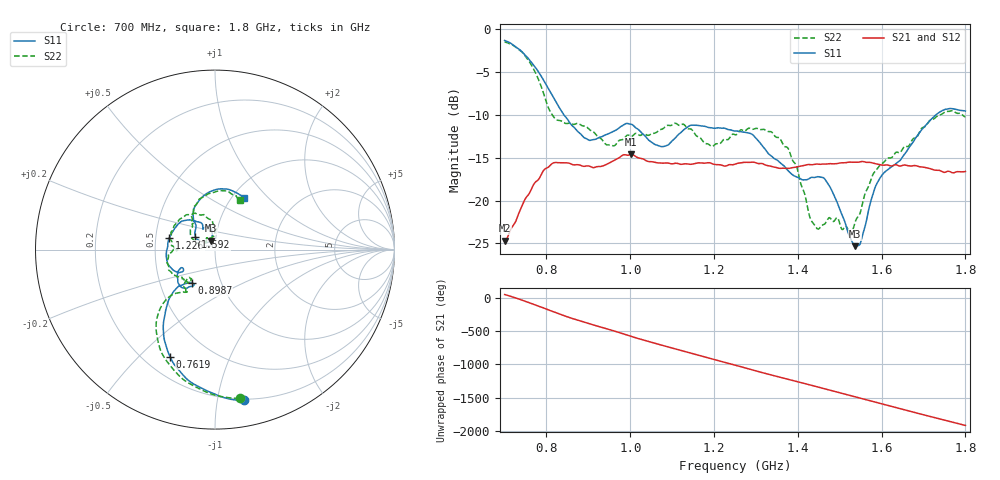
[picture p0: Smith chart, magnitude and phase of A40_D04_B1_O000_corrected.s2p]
! Created with skrf 1.9.0 (http://scikit-rf.org).
# Hz S RI R 50.0
!freq ReS11 ImS11 ReS21 ImS21 ReS12 ImS12 ReS22 ImS22
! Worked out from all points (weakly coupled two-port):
!   1601 points, 700 MHz to 1.8 GHz, reference 50 ohm
!   highest |S21| = -14.63 dB at 1.002 GHz (marker M1); lowest = -24.7 dB at 700.7 MHz (marker M2)
!   lowest |S11| = -25.3 dB at 1.537 GHz (marker M3), VSWR 1.11, Z = 47.5 + j4.67 ohm
!   |S11| at or under -10 dB: 841.3 MHz to 1.73 GHz (888.5 MHz wide, 69.1 % of centre)
!   |S22| runs from -24.0 to -1.5 dB; largest |S21 - S12| = 0.0034
!   S11 on the Smith chart (normalised r, x): 700 MHz: 0.19, -1.20; 761.9 MHz: 0.30, -0.62; 898.7 MHz: 0.73, -0.29; 1.226 GHz: 0.59, +0.08; 1.592 GHz: 0.80, +0.11; 1.8 GHz: 1.13, +0.74
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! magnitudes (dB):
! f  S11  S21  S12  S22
! 700 MHz  -1.3  -24.7  -24.5  -1.5
! 700.7 MHz  -1.4  -24.7  -24.4  -1.5
! 761.9 MHz  -3.8  -18.9  -18.8  -4.0
! 818.2 MHz  -8.1  -15.6  -15.7  -10.3
! 883.6 MHz  -12.4  -15.9  -15.8  -11.2
! 898.7 MHz  -12.9  -15.9  -16.0  -11.5
! 946.8 MHz  -12.2  -15.7  -15.7  -13.5
! 1.002 GHz  -11.1  -14.6  -14.7  -12.5
! 1.067 GHz  -13.6  -15.6  -15.6  -11.9
! 1.145 GHz  -11.2  -15.8  -15.8  -11.7
! 1.226 GHz  -11.6  -16.0  -15.9  -12.8
! 1.25 GHz  -11.9  -15.8  -15.7  -12.3
! 1.357 GHz  -15.6  -16.2  -16.2  -12.8
! 1.396 GHz  -17.2  -16.1  -16.1  -16.0
! 1.434 GHz  -17.3  -15.8  -15.8  -22.5
! 1.472 GHz  -18.1  -15.7  -15.7  -22.1
! 1.537 GHz  -25.3  -15.5  -15.5  -22.5
! 1.551 GHz  -24.7  -15.5  -15.5  -21.0
! 1.592 GHz  -17.7  -15.8  -15.8  -16.2
! 1.617 GHz  -16.3  -15.9  -15.9  -15.0
! 1.733 GHz  -9.9  -16.5  -16.5  -10.2
! 1.8 GHz  -9.6  -16.6  -16.6  -10.2
